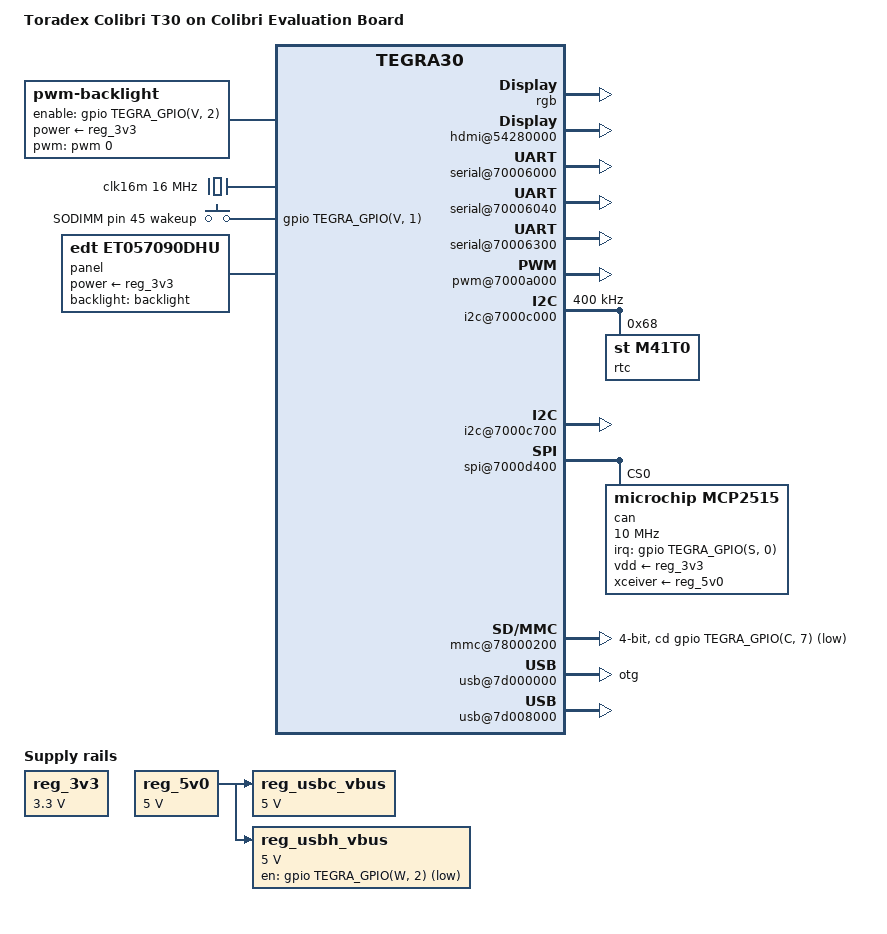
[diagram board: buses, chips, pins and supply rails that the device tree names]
// SPDX-License-Identifier: GPL-2.0
/dts-v1/;

#include <dt-bindings/input/input.h>
#include "tegra30-colibri.dtsi"

/ {
	model = "Toradex Colibri T30 on Colibri Evaluation Board";
	compatible = "toradex,colibri_t30-eval-v3", "toradex,colibri_t30",
		     "nvidia,tegra30";

	aliases {
		rtc0 = "/i2c@7000c000/rtc@68";
		rtc1 = "/i2c@7000d000/pmic@2d";
		rtc2 = "/rtc@7000e000";
		serial0 = &uarta;
		serial1 = &uartb;
		serial2 = &uartd;
	};

	chosen {
		stdout-path = "serial0:115200n8";
	};

	host1x@50000000 {
		dc@54200000 {
			rgb {
				status = "okay";
				nvidia,panel = <&panel>;
			};
		};

		hdmi@54280000 {
			status = "okay";
			hdmi-supply = <&reg_5v0>;
		};
	};

	/* Colibri UART-A */
	serial@70006000 {
		status = "okay";
	};

	/* Colibri UART-C */
	serial@70006040 {
		status = "okay";
	};

	/* Colibri UART-B */
	serial@70006300 {
		status = "okay";
	};

	pwm@7000a000 {
		status = "okay";
	};

	/*
	 * GEN1_I2C: I2C_SDA/SCL on SODIMM pin 194/196 (e.g. RTC on carrier
	 * board)
	 */
	i2c@7000c000 {
		status = "okay";
		clock-frequency = <400000>;

		/* M41T0M6 real time clock on carrier board */
		rtc@68 {
			compatible = "st,m41t0";
			reg = <0x68>;
		};
	};

	/* GEN2_I2C: unused */

	/* CAM_I2C (I2C3): unused */

	/* DDC_CLOCK/DATA on X3 pin 15/16 (e.g. display EDID) */
	i2c@7000c700 {
		status = "okay";
	};

	/* SPI1: Colibri SSP */
	spi@7000d400 {
		status = "okay";
		spi-max-frequency = <25000000>;

		can@0 {
			compatible = "microchip,mcp2515";
			reg = <0>;
			clocks = <&clk16m>;
			interrupt-parent = <&gpio>;
			/* CAN_INT */
			interrupts = <TEGRA_GPIO(S, 0) IRQ_TYPE_EDGE_FALLING>;
			spi-max-frequency = <10000000>;
			vdd-supply = <&reg_3v3>;
			xceiver-supply = <&reg_5v0>;
		};
	};

	/* SD/MMC */
	mmc@78000200 {
		status = "okay";
		bus-width = <4>;
		cd-gpios = <&gpio TEGRA_GPIO(C, 7) GPIO_ACTIVE_LOW>; /* MMCD */
		no-1-8-v;
	};

	/* EHCI instance 0: USB1_DP/N -> USBC_P/N */
	usb@7d000000 {
		status = "okay";
		dr_mode = "otg";
	};

	usb-phy@7d000000 {
		status = "okay";
		vbus-supply = <&reg_usbc_vbus>;
	};

	/* EHCI instance 2: USB3_DP/N -> USBH_P/N */
	usb@7d008000 {
		status = "okay";
	};

	usb-phy@7d008000 {
		status = "okay";
		vbus-supply = <&reg_usbh_vbus>;
	};

	backlight: backlight {
		compatible = "pwm-backlight";
		brightness-levels = <255 128 64 32 16 8 4 0>;
		default-brightness-level = <6>;
		/* BL_ON */
		enable-gpios = <&gpio TEGRA_GPIO(V, 2) GPIO_ACTIVE_HIGH>;
		power-supply = <&reg_3v3>;
		pwms = <&pwm 0 5000000>; /* PWM<A> */
	};

	clk16m: osc3 {
		compatible = "fixed-clock";
		#clock-cells = <0>;
		clock-frequency = <16000000>;
	};

	gpio-keys {
		compatible = "gpio-keys";

		key-wakeup {
			label = "SODIMM pin 45 wakeup";
			gpios = <&gpio TEGRA_GPIO(V, 1) GPIO_ACTIVE_HIGH>;
			linux,code = <KEY_WAKEUP>;
			debounce-interval = <10>;
			wakeup-source;
		};
	};

	panel: panel {
		/*
		 * edt,et057090dhu: EDT 5.7" LCD TFT
		 * edt,et070080dh6: EDT 7.0" LCD TFT
		 */
		compatible = "edt,et057090dhu";
		backlight = <&backlight>;
		power-supply = <&reg_3v3>;
	};

	reg_3v3: regulator-3v3 {
		compatible = "regulator-fixed";
		regulator-name = "3.3V_SW";
		regulator-min-microvolt = <3300000>;
		regulator-max-microvolt = <3300000>;
	};

	reg_5v0: regulator-5v0 {
		compatible = "regulator-fixed";
		regulator-name = "5V_SW";
		regulator-min-microvolt = <5000000>;
		regulator-max-microvolt = <5000000>;
	};

	reg_usbc_vbus: regulator-usbc-vbus {
		compatible = "regulator-fixed";
		regulator-name = "VCC_USB5";
		regulator-min-microvolt = <5000000>;
		regulator-max-microvolt = <5000000>;
		vin-supply = <&reg_5v0>;
	};

	/* USBH_PEN resp. USB_P_EN */
	reg_usbh_vbus: regulator-usbh-vbus {
		compatible = "regulator-fixed";
		regulator-name = "VCC_USB[1-4]";
		regulator-min-microvolt = <5000000>;
		regulator-max-microvolt = <5000000>;
		gpio = <&gpio TEGRA_GPIO(W, 2) GPIO_ACTIVE_LOW>;
		vin-supply = <&reg_5v0>;
	};
};
